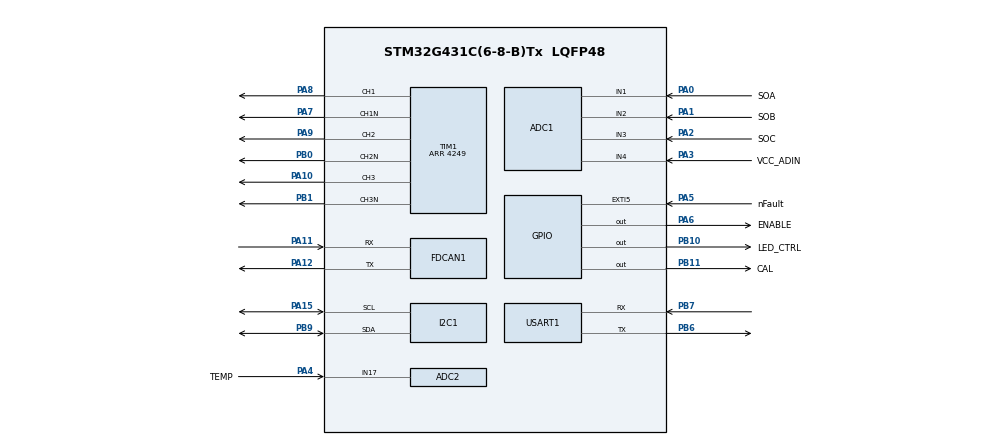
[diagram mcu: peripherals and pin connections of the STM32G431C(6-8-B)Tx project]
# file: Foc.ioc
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ADC1.Channel-0\#ChannelRegularConversion=ADC_CHANNEL_1
ADC1.Channel-1\#ChannelRegularConversion=ADC_CHANNEL_2
ADC1.Channel-2\#ChannelRegularConversion=ADC_CHANNEL_3
ADC1.Channel-3\#ChannelRegularConversion=ADC_CHANNEL_4
ADC1.DMAContinuousRequests=ENABLE
ADC1.EOCSelection=ADC_EOC_SEQ_CONV
ADC1.ExternalTrigConv=ADC_EXTERNALTRIG_T1_TRGO
ADC1.NbrOfConversion=4
ADC1.NbrOfConversionFlag=1
ADC1.OffsetNumber-0\#ChannelRegularConversion=ADC_OFFSET_NONE
ADC1.OffsetNumber-1\#ChannelRegularConversion=ADC_OFFSET_NONE
ADC1.OffsetNumber-2\#ChannelRegularConversion=ADC_OFFSET_NONE
ADC1.OffsetNumber-3\#ChannelRegularConversion=ADC_OFFSET_NONE
ADC1.Rank-0\#ChannelRegularConversion=1
ADC1.Rank-1\#ChannelRegularConversion=2
ADC1.Rank-2\#ChannelRegularConversion=3
ADC1.Rank-3\#ChannelRegularConversion=4
ADC1.SamplingTime-0\#ChannelRegularConversion=ADC_SAMPLETIME_2CYCLES_5
ADC1.SamplingTime-1\#ChannelRegularConversion=ADC_SAMPLETIME_2CYCLES_5
ADC1.SamplingTime-2\#ChannelRegularConversion=ADC_SAMPLETIME_2CYCLES_5
ADC1.SamplingTime-3\#ChannelRegularConversion=ADC_SAMPLETIME_2CYCLES_5
ADC1.master=1
ADC2.Channel-0\#ChannelRegularConversion=ADC_CHANNEL_17
ADC2.NbrOfConversionFlag=1
ADC2.OffsetNumber-0\#ChannelRegularConversion=ADC_OFFSET_NONE
ADC2.Rank-0\#ChannelRegularConversion=1
ADC2.SamplingTime-0\#ChannelRegularConversion=ADC_SAMPLETIME_12CYCLES_5
Dma.ADC1.0.Direction=DMA_PERIPH_TO_MEMORY
Dma.ADC1.0.EventEnable=DISABLE
Dma.ADC1.0.Instance=DMA1_Channel1
Dma.ADC1.0.MemDataAlignment=DMA_MDATAALIGN_HALFWORD
Dma.ADC1.0.MemInc=DMA_MINC_ENABLE
Dma.ADC1.0.Mode=DMA_CIRCULAR
Dma.ADC1.0.PeriphDataAlignment=DMA_PDATAALIGN_HALFWORD
Dma.ADC1.0.PeriphInc=DMA_PINC_DISABLE
Dma.ADC1.0.Polarity=HAL_DMAMUX_REQ_GEN_RISING
Dma.ADC1.0.Priority=DMA_PRIORITY_LOW
Dma.ADC1.0.RequestNumber=1
Dma.ADC1.0.SignalID=NONE
Dma.ADC1.0.SyncEnable=DISABLE
Dma.ADC1.0.SyncPolarity=HAL_DMAMUX_SYNC_NO_EVENT
Dma.ADC1.0.SyncRequestNumber=1
Dma.ADC1.0.SyncSignalID=NONE
Dma.ADC2.1.Direction=DMA_PERIPH_TO_MEMORY
Dma.ADC2.1.EventEnable=DISABLE
Dma.ADC2.1.Instance=DMA1_Channel2
Dma.ADC2.1.MemDataAlignment=DMA_MDATAALIGN_HALFWORD
Dma.ADC2.1.MemInc=DMA_MINC_ENABLE
Dma.ADC2.1.Mode=DMA_CIRCULAR
Dma.ADC2.1.PeriphDataAlignment=DMA_PDATAALIGN_HALFWORD
Dma.ADC2.1.PeriphInc=DMA_PINC_DISABLE
Dma.ADC2.1.Polarity=HAL_DMAMUX_REQ_GEN_RISING
Dma.ADC2.1.Priority=DMA_PRIORITY_LOW
Dma.ADC2.1.RequestNumber=1
Dma.ADC2.1.SignalID=NONE
Dma.ADC2.1.SyncEnable=DISABLE
Dma.ADC2.1.SyncPolarity=HAL_DMAMUX_SYNC_NO_EVENT
Dma.ADC2.1.SyncRequestNumber=1
Dma.ADC2.1.SyncSignalID=NONE
Dma.Request0=ADC1
Dma.Request1=ADC2
FDCAN1.CalculateBaudRateNominal=3541666
FDCAN1.CalculateTimeBitNominal=282
FDCAN1.CalculateTimeQuantumNominal=94.11764705882354
FREERTOS.Tasks01=defaultTask,24,128,StartDefaultTask,Default,NULL,Dynamic,NULL,NULL
I2C1.Timing=0x40B285C2
Mcu.Family=STM32G4
Mcu.Name=STM32G431C(6-8-B)Tx
Mcu.Package=LQFP48
NVIC.DMA1_Channel1_IRQn=true\:5\:0\:false\:false\:true\:true\:false\:true\:true
NVIC.DMA1_Channel2_IRQn=true\:5\:0\:false\:false\:true\:true\:false\:true\:true
NVIC.EXTI9_5_IRQn=true\:5\:0\:false\:false\:true\:true\:true\:true\:true
NVIC.PriorityGroup=NVIC_PRIORITYGROUP_4
NVIC.TIM8_UP_IRQn=true\:15\:0\:false\:false\:true\:false\:false\:true\:true
NVIC.TimeBase=TIM8_UP_IRQn
NVIC.TimeBaseIP=TIM8
PA0.GPIO_Label=SOA
PA0.Mode=IN1-Single-Ended
PA0.Signal=ADC1_IN1
PA1.GPIO_Label=SOB
PA1.Mode=IN2-Single-Ended
PA1.Signal=ADC1_IN2
PA10.Signal=S_TIM1_CH3
PA11.Mode=FDCAN_Activate
PA11.Signal=FDCAN1_RX
PA12.Mode=FDCAN_Activate
PA12.Signal=FDCAN1_TX
PA13.Mode=Serial_Wire
PA13.Signal=SYS_JTMS-SWDIO
PA14.Mode=Serial_Wire
PA14.Signal=SYS_JTCK-SWCLK
PA15.Mode=I2C
PA15.Signal=I2C1_SCL
PA2.GPIO_Label=SOC
PA2.Mode=IN3-Single-Ended
PA2.Signal=ADC1_IN3
PA3.GPIO_Label=VCC_ADIN
PA3.Mode=IN4-Single-Ended
PA3.Signal=ADC1_IN4
PA4.GPIO_Label=TEMP
PA4.Mode=IN17-Single-Ended
PA4.Signal=ADC2_IN17
PA5.GPIO_Label=nFault
PA5.GPIO_ModeDefaultEXTI=GPIO_MODE_IT_FALLING
PA5.Signal=GPXTI5
PA6.GPIO_Label=ENABLE
PA6.Signal=GPIO_Output
PA7.Mode=PWM Generation1 CH1 CH1N
PA7.Signal=TIM1_CH1N
PA8.Signal=S_TIM1_CH1
PA9.Signal=S_TIM1_CH2
PB0.Mode=PWM Generation2 CH2 CH2N
PB0.Signal=TIM1_CH2N
PB1.Mode=PWM Generation3 CH3 CH3N
PB1.Signal=TIM1_CH3N
PB10.GPIO_Label=LED_CTRL
PB10.Signal=GPIO_Output
PB11.GPIO_Label=CAL
PB11.Signal=GPIO_Output
PB6.Mode=Asynchronous
PB6.Signal=USART1_TX
PB7.Mode=Asynchronous
PB7.Signal=USART1_RX
PB9.Mode=I2C
PB9.Signal=I2C1_SDA
PF0-OSC_IN.Mode=HSE-External-Oscillator
PF0-OSC_IN.Signal=RCC_OSC_IN
PF1-OSC_OUT.Mode=HSE-External-Oscillator
PF1-OSC_OUT.Signal=RCC_OSC_OUT
ProjectManager.HeapSize=0x200
ProjectManager.StackSize=0x400
ProjectManager.TargetToolchain=MDK-ARM V5.32
RCC.ADC12Freq_Value=170000000
RCC.AHBFreq_Value=170000000
RCC.APB1Freq_Value=170000000
RCC.APB1TimFreq_Value=170000000
RCC.APB2Freq_Value=170000000
RCC.APB2TimFreq_Value=170000000
RCC.CortexFreq_Value=170000000
RCC.EXTERNAL_CLOCK_VALUE=12288000
RCC.HCLKFreq_Value=170000000
RCC.HSE_VALUE=8000000
RCC.HSI48_VALUE=48000000
RCC.HSI_VALUE=16000000
RCC.LSE_VALUE=32768
RCC.PLLM=RCC_PLLM_DIV2
RCC.PLLN=85
RCC.PLLSourceVirtual=RCC_PLLSOURCE_HSE
RCC.SYSCLKFreq_VALUE=170000000
RCC.SYSCLKSource=RCC_SYSCLKSOURCE_PLLCLK
RCC.USBFreq_Value=170000000
RCC.VCOOutputFreq_Value=340000000
SH.S_TIM1_CH1.0=TIM1_CH1,PWM Generation1 CH1 CH1N
SH.S_TIM1_CH2.0=TIM1_CH2,PWM Generation2 CH2 CH2N
SH.S_TIM1_CH3.0=TIM1_CH3,PWM Generation3 CH3 CH3N
TIM1.AutoReloadPreload=TIM_AUTORELOAD_PRELOAD_ENABLE
TIM1.AutomaticOutput=TIM_AUTOMATICOUTPUT_DISABLE
TIM1.BreakState=TIM_BREAK_DISABLE
TIM1.Channel-PWM\ Generation1\ CH1\ CH1N=TIM_CHANNEL_1
TIM1.Channel-PWM\ Generation2\ CH2\ CH2N=TIM_CHANNEL_2
TIM1.Channel-PWM\ Generation3\ CH3\ CH3N=TIM_CHANNEL_3
TIM1.Channel-PWM\ Generation4\ No\ Output=TIM_CHANNEL_4
TIM1.ClockDivision=TIM_CLOCKDIVISION_DIV1
TIM1.CounterMode=TIM_COUNTERMODE_CENTERALIGNED3
TIM1.DeadTime=70
TIM1.DeadTimePreload=DISABLE
TIM1.LockLevel=TIM_LOCKLEVEL_1
TIM1.PeriodNoDither=4249
TIM1.PulseNoDither_4=4129
TIM1.SourceBRKDigInput=TIM_BREAKINPUTSOURCE_DISABLE
TIM1.TIM_MasterOutputTrigger=TIM_TRGO_OC4REF
TIM1.TIM_MasterSlaveMode=TIM_MASTERSLAVEMODE_DISABLE
USART1.VirtualMode-Asynchronous=VM_ASYNC
VP_FREERTOS_VS_CMSIS_V2.Mode=CMSIS_V2
VP_SYS_VS_DBSignals.Mode=DisableDeadBatterySignals
VP_SYS_VS_tim8.Mode=TIM8
VP_TIM1_VS_ClockSourceINT.Mode=Internal
VP_TIM1_VS_no_output4.Mode=PWM Generation4 No Output
board=custom

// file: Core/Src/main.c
/* USER CODE BEGIN Header */
/**
  ******************************************************************************
  * @file           : main.c
  * @brief          : Main program body
  ******************************************************************************
  * @attention
  *
  * Copyright (c) 2026 STMicroelectronics.
  * All rights reserved.
  *
  * This software is licensed under terms that can be found in the LICENSE file
  * in the root directory of this software component.
  * If no LICENSE file comes with this software, it is provided AS-IS.
  *
  ******************************************************************************
  */
/* USER CODE END Header */
#include "main.h"
#include "cmsis_os.h"
#include "adc.h"
#include "dma.h"
#include "fdcan.h"
#include "i2c.h"
#include "tim.h"
#include "usart.h"
#include "gpio.h"

void SystemClock_Config(void);
void MX_FREERTOS_Init(void);

int main(void)
{

  /* MCU Configuration--------------------------------------------------------*/

  /* Reset of all peripherals, Initializes the Flash interface and the Systick. */
  HAL_Init();

  /* Configure the system clock */
  SystemClock_Config();

  /* Initialize all configured peripherals */
  MX_GPIO_Init();
  MX_DMA_Init();
  MX_ADC1_Init();
  MX_ADC2_Init();
  MX_FDCAN1_Init();
  MX_I2C1_Init();
  MX_TIM1_Init();
  MX_USART1_UART_Init();

  /* Init scheduler */
  osKernelInitialize();

  /* Call init function for freertos objects (in cmsis_os2.c) */
  MX_FREERTOS_Init();

  /* Start scheduler */
  osKernelStart();

  /* We should never get here as control is now taken by the scheduler */

  /* Infinite loop */
  while (1)
  {

  }
}

void SystemClock_Config(void)
{
  LL_FLASH_SetLatency(LL_FLASH_LATENCY_4);
  while(LL_FLASH_GetLatency() != LL_FLASH_LATENCY_4)
  {
  }
  LL_PWR_EnableRange1BoostMode();
  LL_RCC_HSE_Enable();
   /* Wait till HSE is ready */
  while(LL_RCC_HSE_IsReady() != 1)
  {
  }

  LL_RCC_PLL_ConfigDomain_SYS(LL_RCC_PLLSOURCE_HSE, LL_RCC_PLLM_DIV_2, 85, LL_RCC_PLLR_DIV_2);
  LL_RCC_PLL_EnableDomain_SYS();
  LL_RCC_PLL_Enable();
   /* Wait till PLL is ready */
  while(LL_RCC_PLL_IsReady() != 1)
  {
  }

  LL_RCC_SetSysClkSource(LL_RCC_SYS_CLKSOURCE_PLL);
  LL_RCC_SetAHBPrescaler(LL_RCC_SYSCLK_DIV_2);
   /* Wait till System clock is ready */
  while(LL_RCC_GetSysClkSource() != LL_RCC_SYS_CLKSOURCE_STATUS_PLL)
  {
  }

  /* Insure 1us transition state at intermediate medium speed clock*/
  for (__IO uint32_t i = (170 >> 1); i !=0; i--);

  /* Set AHB prescaler*/
  LL_RCC_SetAHBPrescaler(LL_RCC_SYSCLK_DIV_1);
  LL_RCC_SetAPB1Prescaler(LL_RCC_APB1_DIV_1);
  LL_RCC_SetAPB2Prescaler(LL_RCC_APB2_DIV_1);
  LL_SetSystemCoreClock(170000000);

   /* Update the time base */
  if (HAL_InitTick (TICK_INT_PRIORITY) != HAL_OK)
  {
    Error_Handler();
  }
}

void HAL_TIM_PeriodElapsedCallback(TIM_HandleTypeDef *htim)
{
  if (htim->Instance == TIM8)
  {
    HAL_IncTick();
  }
}

void Error_Handler(void)
{
  __disable_irq();
  while (1)
  {
  }
}

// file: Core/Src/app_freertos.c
/* USER CODE BEGIN Header */
/**
  ******************************************************************************
  * File Name          : app_freertos.c
  * Description        : Code for freertos applications
  ******************************************************************************
  * @attention
  *
  * Copyright (c) 2026 STMicroelectronics.
  * All rights reserved.
  *
  * This software is licensed under terms that can be found in the LICENSE file
  * in the root directory of this software component.
  * If no LICENSE file comes with this software, it is provided AS-IS.
  *
  ******************************************************************************
  */
/* USER CODE END Header */

#include "FreeRTOS.h"
#include "task.h"
#include "main.h"
#include "cmsis_os.h"

/* USER CODE BEGIN Includes */
#include "stm32g4xx_ll_gpio.h"
#include "mcpwm_foc.h"
#include "app_adc.h"
void StartCtrlLedTask(void *argument);
void StartMotorTask(void *argument);
/* USER CODE END Includes */

/* Definitions for defaultTask */
osThreadId_t defaultTaskHandle;
const osThreadAttr_t defaultTask_attributes = {
  .name = "defaultTask",
  .priority = (osPriority_t) osPriorityNormal,
  .stack_size = 128 * 4
};

/* USER CODE BEGIN FunctionPrototypes */
osThreadId_t LedCtrlTaskHandle;
const osThreadAttr_t LedCtrlTask_attributes = {
  .name = "LedCtrlTask",
  .priority = (osPriority_t) osPriorityNormal,
  /* printf + RTOS mutex call inside fputc needs >512B stack */
  .stack_size = 256 * 4
};
osThreadId_t TempDetectTaskHandle;
const osThreadAttr_t TempDetectTask_attributes = {
  .name = "TempDetectTask",
  .priority = (osPriority_t) osPriorityNormal,
  .stack_size = 256 * 4
};
osThreadId_t MotorTaskHandle;
const osThreadAttr_t MotorTask_attributes = {
  .name = "MotorTask",
  .priority = (osPriority_t) osPriorityAboveNormal,
  .stack_size = 256 * 4
};
/* USER CODE END FunctionPrototypes */

void StartDefaultTask(void *argument);

void MX_FREERTOS_Init(void); /* (MISRA C 2004 rule 8.1) */

void MX_FREERTOS_Init(void) {
  /* USER CODE BEGIN Init */
  /* Print mutex used by fputc (see usart.c). Must be created after osKernelInitialize. */
  {
    extern osMutexId_t uart_print_mutex;
    uart_print_mutex = osMutexNew(NULL);
  }
  /* USER CODE END Init */

  /* Create the thread(s) */
  /* creation of defaultTask */
  defaultTaskHandle = osThreadNew(StartDefaultTask, NULL, &defaultTask_attributes);

  /* USER CODE BEGIN RTOS_EVENTS */
  /* add events, ... */
  LedCtrlTaskHandle = osThreadNew(StartCtrlLedTask, NULL, &LedCtrlTask_attributes);
  TempDetectTaskHandle = osThreadNew(StartTempDetectTask, NULL, &TempDetectTask_attributes);
  MotorTaskHandle = osThreadNew(StartMotorTask, NULL, &MotorTask_attributes);
  /* USER CODE END RTOS_EVENTS */

}

void StartDefaultTask(void *argument)
{
  for(;;)
  {
    osDelay(1);
  }
}

/* USER CODE BEGIN Application */
void StartCtrlLedTask(void *argument)
{
  uint32_t last_fault = 0;

  printf("LedCtrlTask started\n");

  for(;;)
  {
    /* nFAULT tripped: output stays off until Motor_PWM_Start(); print so it is visible */
    if (g_drv_fault_count != last_fault)
    {
      last_fault = g_drv_fault_count;
      printf("DRV8353 FAULT: nFAULT low, all PWM disabled (cnt=%lu)\r\n",
             (unsigned long)last_fault);
    }

    LL_GPIO_TogglePin(LED_CTRL_GPIO_Port, LED_CTRL_Pin);
    osDelay(500);
  }
}

/*==========================================================================
 * MotorTask：FOC 初始化 + 1kHz 速度环 + 遥测打印
 * 上电只做初始化和校准，不自动转动（mode 保持 IDLE）。
 *==========================================================================*/
void StartMotorTask(void *argument)
{
  uint32_t print_div = 0;

  printf("MotorTask started\r\n");

  /* 1. ADC1 校准 + DMA + TIM1 触发链启动 */
  FOC_Init();

  /* 2. DRV8353 电流失调校准（MOE=0，功率级无输出；要求电机零电流） */
  MC_CalibrateOffsets();

  for(;;)
  {
    /* 3. 速度环（IDLE / OPENLOOP 模式下内部直接返回） */
    FOC_SpeedLoop();

    /* 4. 每 500ms 打印一帧遥测，用来确认采样链路和角度收敛情况 */
    if (++print_div >= 500)
    {
      print_div = 0;
      printf("raw=%u,%u,%u,%u I=%.2f,%.2f,%.2f Vbus=%.1f id=%.2f iq=%.2f spd=%.0frpm\r\n",
             g_adc_raw[0], g_adc_raw[1], g_adc_raw[2], g_adc_raw[3],
             g_mc_state.iu, g_mc_state.iv, g_mc_state.iw,
             g_mc_state.vbus,
             g_mc_state.id, g_mc_state.iq,
             g_mc_state.pll_speed * 60.0f / 6.2831853f / (float)g_mc_cfg.pole_pairs);
    }

    osDelay(1);
  }
}
/* USER CODE END Application */
